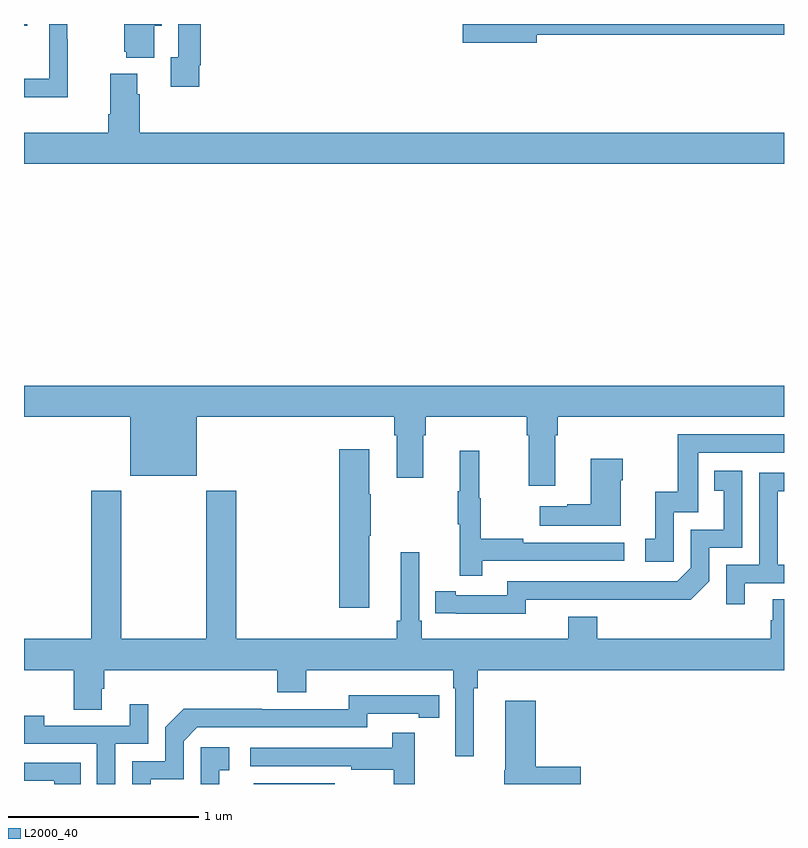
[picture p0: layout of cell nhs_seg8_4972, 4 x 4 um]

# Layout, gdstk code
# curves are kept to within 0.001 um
import gdstk
lib = gdstk.Library(unit=1e-6, precision=1e-09)
def R(c, l, rs):  # rectangles x0, y0, x1, y1
    for r in rs: c.add(gdstk.rectangle(r[:2], r[2:], *l))
def P(c, l, *ps):  # polygons
    for p in ps: c.add(gdstk.Polygon(p, *l))
L2000_40 = (2000, 40)

nhs_seg8_4972 = lib.new_cell('nhs_seg8_4972')
R(nhs_seg8_4972, L2000_40, [(412.208,1115.9,412.636,1115.905), (411,1119.89,411.016,1119.9)])
P(nhs_seg8_4972, L2000_40, [(411.231,1119.821),(411.228,1119.821),(411.228,1119.9),(411.132,1119.9),(411.132,1119.612),(411,1119.612),(411,1119.515),(411.231,1119.515)],
  [(411.685,1119.89),(411.724,1119.89),(411.724,1119.9),(411.527,1119.9),(411.527,1119.753),(411.539,1119.753),(411.539,1119.722),(411.685,1119.722)],
  [(411.922,1119.682),(411.929,1119.682),(411.929,1119.9),(411.813,1119.9),(411.813,1119.726),(411.773,1119.726),(411.773,1119.57),(411.922,1119.57)],
  [(413.698,1119.844),(415,1119.844),(415,1119.9),(413.31,1119.9),(413.31,1119.802),(413.698,1119.802)],
  [(415,1119.328),(411.608,1119.328),(411.608,1119.53),(411.595,1119.53),(411.595,1119.637),(411.455,1119.637),(411.455,1119.424),(411.443,1119.424),(411.443,1119.328),(411,1119.328),(411,1119.164),(415,1119.164)],
  [(413.797,1117.736),(413.81,1117.736),(413.81,1117.832),(415,1117.832),(415,1117.996),(411,1117.996),(411,1117.832),(411.56,1117.832),(411.56,1117.523),(411.91,1117.523),(411.91,1117.832),(412.949,1117.832),(412.949,1117.736),(412.961,1117.736),(412.961,1117.512),(413.101,1117.512),(413.101,1117.736),(413.114,1117.736),(413.114,1117.832),(413.645,1117.832),(413.645,1117.736),(413.657,1117.736),(413.657,1117.47),(413.797,1117.47)],
  [(414.42,1117.329),(414.549,1117.329),(414.549,1117.644),(415,1117.644),(415,1117.74),(414.441,1117.74),(414.441,1117.438),(414.323,1117.438),(414.323,1117.191),(414.27,1117.191),(414.27,1117.071),(414.42,1117.071)],
  [(412.816,1117.207),(412.824,1117.207),(412.824,1117.424),(412.816,1117.424),(412.816,1117.663),(412.658,1117.663),(412.658,1116.828),(412.816,1116.828)],
  [(413.411,1117.074),(414.16,1117.074),(414.16,1117.17),(413.627,1117.17),(413.627,1117.19),(413.404,1117.19),(413.404,1117.404),(413.396,1117.404),(413.396,1117.654),(413.294,1117.654),(413.294,1117.441),(413.283,1117.441),(413.283,1117.267),(413.294,1117.267),(413.294,1116.996),(413.411,1116.996)],
  [(414.142,1117.499),(414.15,1117.499),(414.15,1117.612),(413.984,1117.612),(413.984,1117.373),(413.858,1117.373),(413.858,1117.363),(413.715,1117.363),(413.715,1117.259),(414.142,1117.259)],
  [(413.64,1116.87),(414.508,1116.869),(414.606,1116.966),(414.606,1117.143),(414.78,1117.143),(414.78,1117.549),(414.634,1117.549),(414.634,1117.443),(414.683,1117.443),(414.683,1117.239),(414.51,1117.239),(414.51,1117.038),(414.438,1116.966),(413.544,1116.966),(413.544,1116.894),(413.272,1116.894),(413.272,1116.914),(413.164,1116.914),(413.164,1116.798),(413.64,1116.797)],
  [(414.793,1116.957),(415,1116.957),(415,1117.053),(414.966,1117.053),(414.966,1117.442),(415,1117.442),(415,1117.539),(414.87,1117.539),(414.87,1117.053),(414.696,1117.053),(414.696,1116.846),(414.793,1116.846)],
  [(413.079,1116.76),(413.079,1117.12),(412.982,1117.12),(412.982,1116.76),(412.963,1116.76),(412.963,1116.664),(412.118,1116.664),(412.118,1117.444),(411.958,1117.444),(411.958,1116.664),(411.513,1116.664),(411.513,1117.444),(411.353,1117.444),(411.353,1116.664),(411,1116.664),(411,1116.5),(411.262,1116.5),(411.262,1116.292),(411.409,1116.292),(411.409,1116.402),(411.422,1116.402),(411.422,1116.5),(412.334,1116.5),(412.334,1116.383),(412.486,1116.383),(412.486,1116.5),(413.258,1116.5),(413.258,1116.404),(413.271,1116.404),(413.271,1116.045),(413.368,1116.045),(413.368,1116.404),(413.387,1116.404),(413.387,1116.5),(415,1116.5),(415,1116.872),(414.941,1116.872),(414.941,1116.762),(414.929,1116.762),(414.929,1116.664),(414.017,1116.664),(414.017,1116.781),(413.864,1116.781),(413.864,1116.664),(413.093,1116.664),(413.093,1116.76)],
  [(411.667,1115.925),(411.84,1115.925),(411.84,1116.126),(411.912,1116.198),(412.806,1116.198),(412.806,1116.27),(413.078,1116.27),(413.078,1116.25),(413.186,1116.25),(413.186,1116.366),(412.71,1116.367),(412.71,1116.294),(412.25,1116.294),(412.25,1116.296),(411.842,1116.296),(411.744,1116.198),(411.744,1116.021),(411.57,1116.021),(411.57,1115.9),(411.667,1115.9)],
  [(413.929,1115.99),(413.693,1115.99),(413.693,1116.337),(413.534,1116.337),(413.534,1115.973),(413.527,1115.973),(413.527,1115.9),(413.929,1115.9)],
  [(411.48,1116.111),(411.654,1116.111),(411.654,1116.319),(411.557,1116.319),(411.557,1116.207),(411.106,1116.207),(411.106,1116.259),(411,1116.259),(411,1116.111),(411.384,1116.111),(411.384,1115.9),(411.48,1115.9)],
  [(413.057,1116.169),(412.939,1116.169),(412.939,1116.09),(412.191,1116.09),(412.191,1115.994),(412.723,1115.994),(412.723,1115.974),(412.947,1115.974),(412.947,1115.9),(413.057,1115.9)],
  [(412.028,1115.973),(412.081,1115.973),(412.081,1116.094),(411.93,1116.094),(411.93,1115.9),(412.028,1115.9)],
  [(411.299,1116.012),(411,1116.012),(411,1115.916),(411.159,1115.916),(411.159,1115.9),(411.299,1115.9)])

lib.write_gds('nhs_seg8_4972.gds')
